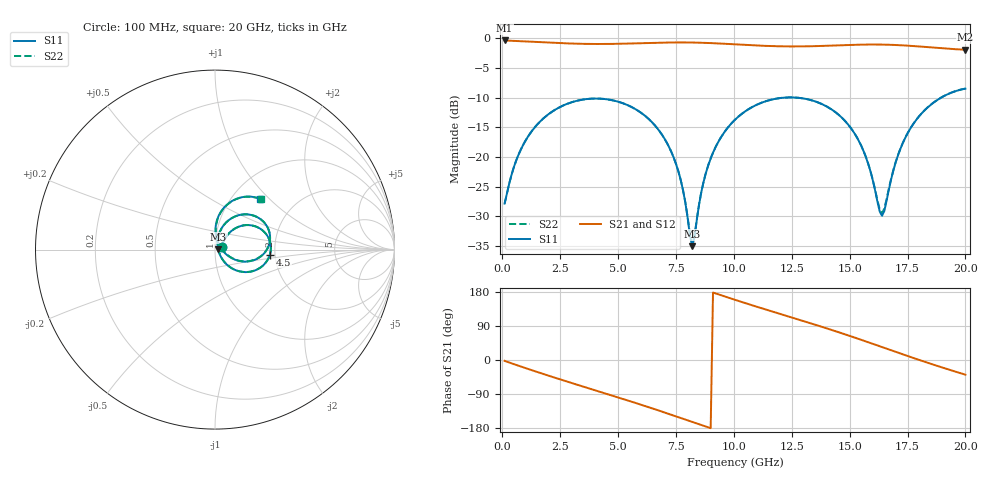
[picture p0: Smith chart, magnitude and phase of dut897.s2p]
! Touchstone file exported from HFSS 2026.1.0
!  File:  C:/ffzhzh/LocalFiles/Ansys_Project_Files/temp_train_TSV_RDL_897_1783275936_38704.aedt
!  Generated:  02:35:53 AM Jul  6, 2026
!  Design:  TSV_RDL
!  Project:  temp_train_TSV_RDL_897_1783275936_38704
! Variables:
!  h_bsmrdl = 2.15um
!  h_ox = 20um
!  h_rdl = 5um
!  h_sub = 75.19um
!  h_tmrdl = 5.61um
!  h_tsv = 75.19um
!  h_via = 3um
!  l_bsmrdl = 821.89um
!  l_sub = 6574.27um
!  l_tmrdl = 901.77um
!  m_sub = 200um
!  pitch = 28.75um
!  r_tsv = 10.19um
!  s_tmrdl = 10um
!  w_bsmrdl = 21.89um
!  w_sub = 500um
!  w_tmrdl = 11.95um
!  x_tsv_center1 = 907.745um
!  x_tsv_center2 = 1751.525um
!  x_tsv_center3 = 2665.245um
!  x_tsv_center4 = 3509.025um
!  x_tsv_center5 = 4422.745um
!  x_tsv_center6 = 5266.525um
# GHz S MA R 50.000000
! Terminal data exported
! Port[1] = TM_RDL1_1_T1
! Port[2] = TM_RDL5_1_T1
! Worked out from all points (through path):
!   200 points, 100 MHz to 20 GHz, reference 50 ohm
!   highest |S21| = -0.33 dB at 100 MHz (marker M1); lowest = -1.9 dB at 20 GHz (marker M2)
!   group delay of S21, straight-line fit = 55.2 ps
!   lowest |S11| = -35.0 dB at 8.2 GHz (marker M3), VSWR 1.04, Z = 51.8 + j0.255 ohm
!   |S11| at or under -10 dB: start of sweep to 12.11 GHz; 12.77 GHz to 18.94 GHz (6.166 GHz wide, 38.9 % of centre)
!   |S22| runs from -34.7 to -8.4 dB; largest |S21 - S12| = 1.7e-14
!   S11 on the Smith chart (normalised r, x): 100 MHz: 1.08, +0.03; 4.5 GHz: 1.88, -0.11; 20 GHz: 1.35, +0.88
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0.1  0.04051 20.2  0.9624 -2.3  0.9624 -2.3  0.04051 20.2
! Gamma 0 0 0 0
! Port Impedance 50 0 50 0
0.6  0.09348 48.8  0.9524 -13.0  0.9524 -13.0  0.09347 48.8
1.3  0.168 45.9  0.9379 -27.4  0.9379 -27.4  0.168 45.9
3.5  0.3057 12.0  0.9012 -70.3  0.9012 -70.3  0.3056 12.0
4.5  0.3073 -5.1  0.8991 -89.1  0.8991 -89.1  0.3072 -5.0
5.7  0.257 -26.0  0.9094 -112.2  0.9094 -112.2  0.2569 -25.9
6.8  0.1643 -44.6  0.9222 -134.2  0.9222 -134.2  0.1643 -44.4
7.6  0.07622 -53.1  0.9266 -150.8  0.9266 -150.8  0.0763 -52.6
8.2  0.01771 8.0  0.9246 -163.3  0.9246 -163.3  0.0184 8.4
8.6  0.05113 73.3  0.9205 -171.7  0.9205 -171.7  0.05144 72.7
8.9  0.08582 75.8  0.9162 -177.9  0.9162 -177.9  0.08602 75.4
10.1  0.2109 59.8  0.8915 157.8  0.8915 157.8  0.211 59.7
11.7  0.3073 32.6  0.862 127.2  0.862 127.2  0.3073 32.6
13.4  0.2995 3.9  0.8607 95.3  0.8607 95.3  0.2995 4.0
14.5  0.2295 -14.3  0.8748 73.9  0.8748 73.9  0.2296 -14.0
15.3  0.1481 -25.2  0.8854 57.5  0.8854 57.5  0.1483 -24.6
15.8  0.08799 -26.3  0.889 47.0  0.889 47.0  0.0884 -25.3
16.4  0.03196 31.3  0.8883 34.1  0.8883 34.1  0.03365 31.6
16.7  0.0537 77.8  0.8855 27.7  0.8855 27.7  0.0549 76.5
17.2  0.1182 88.6  0.8772 17.0  0.8772 17.0  0.1188 87.8
17.9  0.2085 81.7  0.8595 2.3  0.8595 2.3  0.2089 81.2
20  0.3778 48.0  0.8042 -38.8  0.8042 -38.8  0.3781 47.8
